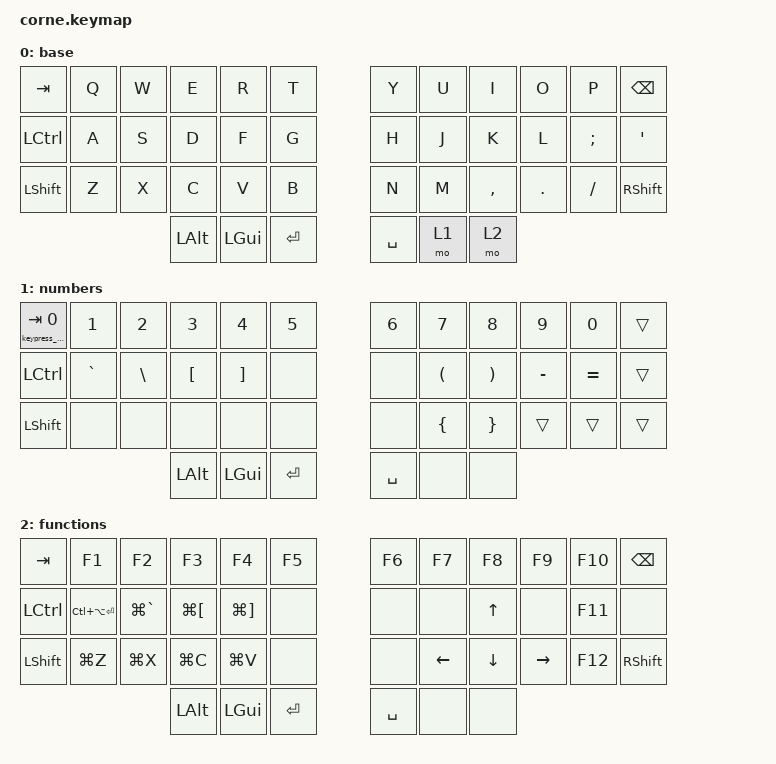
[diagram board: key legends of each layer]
#include <behaviors.dtsi>
#include <dt-bindings/zmk/keys.h>

/ {
    combos {
        compatible = "zmk,combos";

        Escape {
            bindings = <&kp ESCAPE>;
            key-positions = <2 3>;
        };
    };

    macros {
        space_toggle_layer: space_toggle_layer {
            compatible = "zmk,behavior-macro";
            #binding-cells = <0>;
            bindings = <&kp SPACE &to 0>;
            label = "SPACE_TOGGLE_LAYER";
        };

        keypress_and_to_layer: keypress_and_to_base {
            compatible = "zmk,behavior-macro-two-param";
            #binding-cells = <2>;
            bindings = <&macro_param_1to1 &kp MACRO_PLACEHOLDER &macro_param_2to1 &to MACRO_PLACEHOLDER>;
            label = "KEYPRESS_AND_TO_BASE";
        };
    };

    keymap {
        compatible = "zmk,keymap";

        base {
            bindings = <
&kp TAB    &kp Q  &kp W  &kp E     &kp R     &kp T        &kp Y      &kp U  &kp I      &kp O    &kp P     &kp BSPC
&kp LCTRL  &kp A  &kp S  &kp D     &kp F     &kp G        &kp H      &kp J  &kp K      &kp L    &kp SEMI  &kp APOS
&kp LSHFT  &kp Z  &kp X  &kp C     &kp V     &kp B        &kp N      &kp M  &kp COMMA  &kp DOT  &kp FSLH  &kp RSHFT
                         &kp LALT  &kp LGUI  &kp ENTER    &kp SPACE  &mo 1  &mo 2
            >;
        };

        numbers {
            bindings = <
&keypress_and_to_layer TAB 0  &kp N1     &kp N2    &kp N3            &kp N4             &kp N5       &kp N6     &kp N7                &kp N8                 &kp N9     &kp N0     &trans
&kp LCTRL                     &kp GRAVE  &kp BSLH  &kp LEFT_BRACKET  &kp RIGHT_BRACKET  &none        &none      &kp LEFT_PARENTHESIS  &kp RIGHT_PARENTHESIS  &kp MINUS  &kp EQUAL  &trans
&kp LSHFT                     &none      &none     &none             &none              &none        &none      &kp LEFT_BRACE        &kp RIGHT_BRACE        &trans     &trans     &trans
                                                   &kp LALT          &kp LGUI           &kp ENTER    &kp SPACE  &none                 &none
            >;
        };

        functions {
            bindings = <
&kp TAB    &kp F1             &kp F2         &kp F3                &kp F4                 &kp F5       &kp F6     &kp F7    &kp F8    &kp F9     &kp F10  &kp BSPC
&kp LCTRL  &kp LC(LA(ENTER))  &kp LG(GRAVE)  &kp LG(LEFT_BRACKET)  &kp LG(RIGHT_BRACKET)  &none        &none      &none     &kp UP    &none      &kp F11  &none
&kp LSHFT  &kp LG(Z)          &kp LG(X)      &kp LG(C)             &kp LG(V)              &none        &none      &kp LEFT  &kp DOWN  &kp RIGHT  &kp F12  &kp RSHFT
                                             &kp LALT              &kp LGUI               &kp ENTER    &kp SPACE  &none     &none
            >;
        };
    };
};
